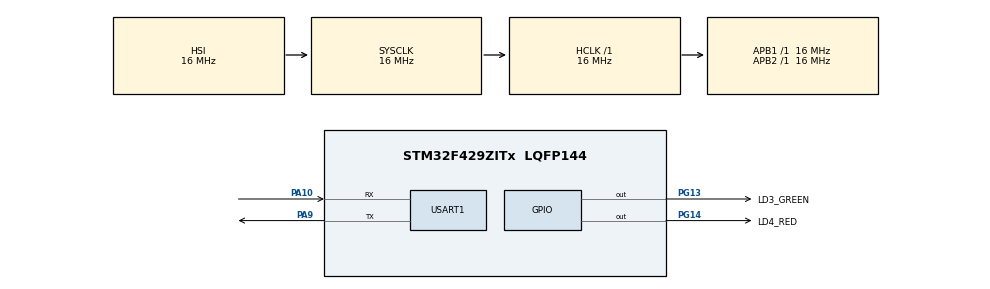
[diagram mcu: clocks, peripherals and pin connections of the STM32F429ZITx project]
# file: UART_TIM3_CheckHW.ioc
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Mcu.Family=STM32F4
Mcu.Name=STM32F429ZITx
Mcu.Package=LQFP144
NVIC.PriorityGroup=NVIC_PRIORITYGROUP_4
NVIC.TIM3_IRQn=true\:2\:0\:true\:false\:true\:true\:true\:true
NVIC.USART1_IRQn=true\:1\:0\:true\:false\:true\:true\:true\:true
PA10.Mode=Asynchronous
PA10.Signal=USART1_RX
PA13.Mode=Serial_Wire
PA13.Signal=SYS_JTMS-SWDIO
PA14.Mode=Serial_Wire
PA14.Signal=SYS_JTCK-SWCLK
PA9.Mode=Asynchronous
PA9.Signal=USART1_TX
PG13.GPIO_Label=LD3_GREEN
PG13.Signal=GPIO_Output
PG14.GPIO_Label=LD4_RED
PG14.Signal=GPIO_Output
ProjectManager.HeapSize=0x200
ProjectManager.StackSize=0x400
ProjectManager.TargetToolchain=STM32CubeIDE
RCC.AHBFreq_Value=16000000
RCC.APB1Freq_Value=16000000
RCC.APB2Freq_Value=16000000
RCC.CortexFreq_Value=16000000
RCC.HSE_VALUE=25000000
RCC.HSI_VALUE=16000000
RCC.LSE_VALUE=32768
RCC.SYSCLKFreq_VALUE=16000000
RCC.VCOOutputFreq_Value=192000000
TIM3.AutoReloadPreload=TIM_AUTORELOAD_PRELOAD_ENABLE
TIM3.Period=999
TIM3.Prescaler=15999
USART1.VirtualMode=VM_ASYNC
VP_TIM3_VS_ClockSourceINT.Mode=Internal
board=custom

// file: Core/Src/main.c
/* USER CODE BEGIN Header */
/**
 ******************************************************************************
 * @file           : main.c
 * @brief          : Main program body
 ******************************************************************************
 * @attention
 *
 * Copyright (c) 2026 STMicroelectronics.
 * All rights reserved.
 *
 * This software is licensed under terms that can be found in the LICENSE file
 * in the root directory of this software component.
 * If no LICENSE file comes with this software, it is provided AS-IS.
 *
 ******************************************************************************
 */
/* USER CODE END Header */
#include "main.h"

/* USER CODE BEGIN Includes */
#include <string.h>
#include <stdbool.h>
#include <stdio.h>
/* USER CODE END Includes */

/* USER CODE BEGIN PD */
#define RX_BUF_SIZE 128
#define LED_DURATION_MS 5000
/* USER CODE END PD */

TIM_HandleTypeDef htim3;

UART_HandleTypeDef huart1;

/* USER CODE BEGIN PV */
// UART Rx Variables
uint8_t rx_byte;
char rx_buffer[RX_BUF_SIZE];
volatile uint8_t rx_index = 0;
volatile bool line_ready = false;

// LED Timer Variables (Software non-blocking timers)
uint32_t led_green_start = 0;
bool led_green_active = false;
uint32_t led_red_start = 0;
bool led_red_active = false;

// Hardware Timer Variables (Uptime Check)
volatile uint32_t uptime_seconds = 0;       // Dem so giay troi qua tu TIM3
volatile bool heartbeat_ready = false;      // Co bao hieu can in heartbeat

// String
const char msg_welcome[] = "\r\n--- HW Timer & UART Ready ---\r\n";
const char msg_done[] = "DONE\r\n";

/* USER CODE END PV */

void SystemClock_Config(void);
static void MX_GPIO_Init(void);
static void MX_TIM3_Init(void);
static void MX_USART1_UART_Init(void);

/* USER CODE BEGIN 0 */

/*
 * Ham phuc vu ngat nhan UART (Callback)
 * Uu tien cao hon (Preemption Priority = 1)
 *
 * */
void HAL_UART_RxCpltCallback(UART_HandleTypeDef *huart) {
	if (huart->Instance == USART1) {
		// Kiem tra ky tu chot chuoi CR LF
		if (rx_byte == '\r' || rx_byte == '\n') {
			if (rx_index > 0 && !line_ready) { // Bo qua chuoi rong hoac thua \n
				rx_buffer[rx_index] = '\0'; // Dong chuoi thanh C-String
				line_ready = true;          // Dung co bao cho Main loop
			}
		} else { // Nhan byte binh thuong, chi ghi khi chua chot chuoi va con cho
			if (!line_ready) {
				if (rx_index < (RX_BUF_SIZE - 1)) {
					rx_buffer[rx_index++] = rx_byte;
				} else { // Tran buffer
					rx_buffer[RX_BUF_SIZE - 1] = '\0';
					line_ready = true;
				}
			}
		}
		// Moi lai ngat de lay byte tiep theo
		HAL_UART_Receive_IT(&huart1, &rx_byte, 1);
	}
}
/*
 * Ham phuc vu ngat tran timer
 * Uu tien thap hon
 * */
void HAL_TIM_PeriodElapsedCallback(TIM_HandleTypeDef *htim) {
	if (htim->Instance == TIM3) {
		uptime_seconds++;         // Tăng biến đếm giây
		heartbeat_ready = true;   // Kích cờ để vòng lặp main in ra Terminal
	}
}
/* USER CODE END 0 */

int main(void) {

	/* MCU Configuration--------------------------------------------------------*/

	/* Reset of all peripherals, Initializes the Flash interface and the Systick. */
	HAL_Init();

	/* Configure the system clock */
	SystemClock_Config();

	/* Initialize all configured peripherals */
	MX_GPIO_Init();
	MX_TIM3_Init();
	MX_USART1_UART_Init();
	/* USER CODE BEGIN 2 */
	// Bat ngat Hardware timer dem giay
	HAL_TIM_Base_Start_IT(&htim3);

	//In chuoi khoi dong
	HAL_UART_Transmit(&huart1, (uint8_t*) msg_welcome, strlen(msg_welcome),
			HAL_MAX_DELAY);

	//Moi ngat UART lan dau tien
	HAL_UART_Receive_IT(&huart1, &rx_byte, 1);

	//Dam bao 2 den LED dang tat
	HAL_GPIO_WritePin(GPIOG, LD3_GREEN_Pin, GPIO_PIN_RESET);
	HAL_GPIO_WritePin(GPIOG, LD4_RED_Pin, GPIO_PIN_RESET);
	/* USER CODE END 2 */

	/* Infinite loop */
	/* USER CODE BEGIN WHILE */
	char tx_buf[128]; // Buffer cuc bo de tao chuoi in ra man hinh

	while (1) {
		// 1. XU LY HEARTBEAT (Ngat Timer gui tin hieu ra Terminal)
		if (heartbeat_ready) {
			heartbeat_ready = false; // Ha co

			// In ra heartbeat chung minh MCU khong bij treo
			snprintf(tx_buf, sizeof(tx_buf),
					"[HW_TIMER] Heartbeat... Uptime: %lu s\r\n",
					uptime_seconds);
			HAL_UART_Transmit(&huart1, (uint8_t*) tx_buf, strlen(tx_buf),
					HAL_MAX_DELAY);
		}

		// 2. Xu ly lenh tu UART
		if (line_ready) {
			// Echo chuoi vua nhan nguoc lai man hinh
			HAL_UART_Transmit(&huart1, (uint8_t*) "Echo: ", 6, HAL_MAX_DELAY);
			HAL_UART_Transmit(&huart1, (uint8_t*) rx_buffer, strlen(rx_buffer),
					HAL_MAX_DELAY);
			HAL_UART_Transmit(&huart1, (uint8_t*) "\r\n", 2, HAL_MAX_DELAY);

			// Phan tich lenh dieu khien
			if (strcmp(rx_buffer, "LED_GREEN") == 0) {
				HAL_GPIO_WritePin(GPIOG, LD3_GREEN_Pin, GPIO_PIN_SET);
				led_green_active = true;
				led_green_start = HAL_GetTick();
			} else if (strcmp(rx_buffer, "LED_RED") == 0) {
				HAL_GPIO_WritePin(GPIOG, LD4_RED_Pin, GPIO_PIN_SET);
				led_red_active = true;
				led_red_start = HAL_GetTick();
			} else if (strcmp(rx_buffer, "GET_TIME") == 0) {
				snprintf(tx_buf, sizeof(tx_buf),
						"--> Current Uptime: %lu seconds\r\n", uptime_seconds);
				HAL_UART_Transmit(&huart1, (uint8_t*) tx_buf, strlen(tx_buf),
						HAL_MAX_DELAY);
			} else if (strcmp(rx_buffer, "CHECK_HW") == 0) {
				// Doc truc tiep cac thanh ghi cau truc cua TIM3 de kiem chung phan cung
				uint32_t cnt = TIM3->CNT;
				uint32_t psc = TIM3->PSC;
				uint32_t arr = TIM3->ARR;
				snprintf(tx_buf, sizeof(tx_buf),
						"--> HW REG: CNT=%lu, PSC=%lu, ARR=%lu\r\n", cnt, psc,
						arr);
				HAL_UART_Transmit(&huart1, (uint8_t*) tx_buf, strlen(tx_buf),
						HAL_MAX_DELAY);
			} else {
				HAL_UART_Transmit(&huart1, (uint8_t*) "Unknown Command\r\n", 17,
						HAL_MAX_DELAY);
			}

			// Xoa buffer va ha co de lay lenh tiep theo
			rx_index = 0;
			line_ready = false;
		}

		// 3. Quan ly thoi gian den led
		if (led_green_active) {
			if ((HAL_GetTick() - led_green_start) >= LED_DURATION_MS) {
				HAL_GPIO_WritePin(GPIOG, LD3_GREEN_Pin, GPIO_PIN_RESET);
				led_green_active = false;
				HAL_UART_Transmit(&huart1, (uint8_t*) msg_done,
						strlen(msg_done), HAL_MAX_DELAY);
			}
		}

		if (led_red_active) {
			if ((HAL_GetTick() - led_red_start) >= LED_DURATION_MS) {
				HAL_GPIO_WritePin(GPIOG, LD4_RED_Pin, GPIO_PIN_RESET);
				led_red_active = false;
				HAL_UART_Transmit(&huart1, (uint8_t*) msg_done,
						strlen(msg_done), HAL_MAX_DELAY);
			}
		}
		/* USER CODE END WHILE */

	}
}

void SystemClock_Config(void) {
	RCC_OscInitTypeDef RCC_OscInitStruct = { 0 };
	RCC_ClkInitTypeDef RCC_ClkInitStruct = { 0 };

	/** Configure the main internal regulator output voltage
	 */
	__HAL_RCC_PWR_CLK_ENABLE();
	__HAL_PWR_VOLTAGESCALING_CONFIG(PWR_REGULATOR_VOLTAGE_SCALE3);

	/** Initializes the RCC Oscillators according to the specified parameters
	 * in the RCC_OscInitTypeDef structure.
	 */
	RCC_OscInitStruct.OscillatorType = RCC_OSCILLATORTYPE_HSI;
	RCC_OscInitStruct.HSIState = RCC_HSI_ON;
	RCC_OscInitStruct.HSICalibrationValue = RCC_HSICALIBRATION_DEFAULT;
	RCC_OscInitStruct.PLL.PLLState = RCC_PLL_NONE;
	if (HAL_RCC_OscConfig(&RCC_OscInitStruct) != HAL_OK) {
		Error_Handler();
	}

	/** Initializes the CPU, AHB and APB buses clocks
	 */
	RCC_ClkInitStruct.ClockType = RCC_CLOCKTYPE_HCLK | RCC_CLOCKTYPE_SYSCLK
			| RCC_CLOCKTYPE_PCLK1 | RCC_CLOCKTYPE_PCLK2;
	RCC_ClkInitStruct.SYSCLKSource = RCC_SYSCLKSOURCE_HSI;
	RCC_ClkInitStruct.AHBCLKDivider = RCC_SYSCLK_DIV1;
	RCC_ClkInitStruct.APB1CLKDivider = RCC_HCLK_DIV1;
	RCC_ClkInitStruct.APB2CLKDivider = RCC_HCLK_DIV1;

	if (HAL_RCC_ClockConfig(&RCC_ClkInitStruct, FLASH_LATENCY_0) != HAL_OK) {
		Error_Handler();
	}
}

static void MX_TIM3_Init(void) {

	TIM_ClockConfigTypeDef sClockSourceConfig = { 0 };
	TIM_MasterConfigTypeDef sMasterConfig = { 0 };

	htim3.Instance = TIM3;
	htim3.Init.Prescaler = 15999;
	htim3.Init.CounterMode = TIM_COUNTERMODE_UP;
	htim3.Init.Period = 999;
	htim3.Init.ClockDivision = TIM_CLOCKDIVISION_DIV1;
	htim3.Init.AutoReloadPreload = TIM_AUTORELOAD_PRELOAD_ENABLE;
	if (HAL_TIM_Base_Init(&htim3) != HAL_OK) {
		Error_Handler();
	}
	sClockSourceConfig.ClockSource = TIM_CLOCKSOURCE_INTERNAL;
	if (HAL_TIM_ConfigClockSource(&htim3, &sClockSourceConfig) != HAL_OK) {
		Error_Handler();
	}
	sMasterConfig.MasterOutputTrigger = TIM_TRGO_RESET;
	sMasterConfig.MasterSlaveMode = TIM_MASTERSLAVEMODE_DISABLE;
	if (HAL_TIMEx_MasterConfigSynchronization(&htim3, &sMasterConfig)
			!= HAL_OK) {
		Error_Handler();
	}

}

static void MX_USART1_UART_Init(void) {

	huart1.Instance = USART1;
	huart1.Init.BaudRate = 115200;
	huart1.Init.WordLength = UART_WORDLENGTH_8B;
	huart1.Init.StopBits = UART_STOPBITS_1;
	huart1.Init.Parity = UART_PARITY_NONE;
	huart1.Init.Mode = UART_MODE_TX_RX;
	huart1.Init.HwFlowCtl = UART_HWCONTROL_NONE;
	huart1.Init.OverSampling = UART_OVERSAMPLING_16;
	if (HAL_UART_Init(&huart1) != HAL_OK) {
		Error_Handler();
	}

}

static void MX_GPIO_Init(void) {
	GPIO_InitTypeDef GPIO_InitStruct = { 0 };

	/* GPIO Ports Clock Enable */
	__HAL_RCC_GPIOA_CLK_ENABLE();
	__HAL_RCC_GPIOG_CLK_ENABLE();

	/*Configure GPIO pin Output Level */
	HAL_GPIO_WritePin(GPIOG, LD3_GREEN_Pin | LD4_RED_Pin, GPIO_PIN_RESET);

	/*Configure GPIO pins : LD3_GREEN_Pin LD4_RED_Pin */
	GPIO_InitStruct.Pin = LD3_GREEN_Pin | LD4_RED_Pin;
	GPIO_InitStruct.Mode = GPIO_MODE_OUTPUT_PP;
	GPIO_InitStruct.Pull = GPIO_NOPULL;
	GPIO_InitStruct.Speed = GPIO_SPEED_FREQ_LOW;
	HAL_GPIO_Init(GPIOG, &GPIO_InitStruct);

}

void Error_Handler(void) {
	__disable_irq();
	while (1) {
	}
}
